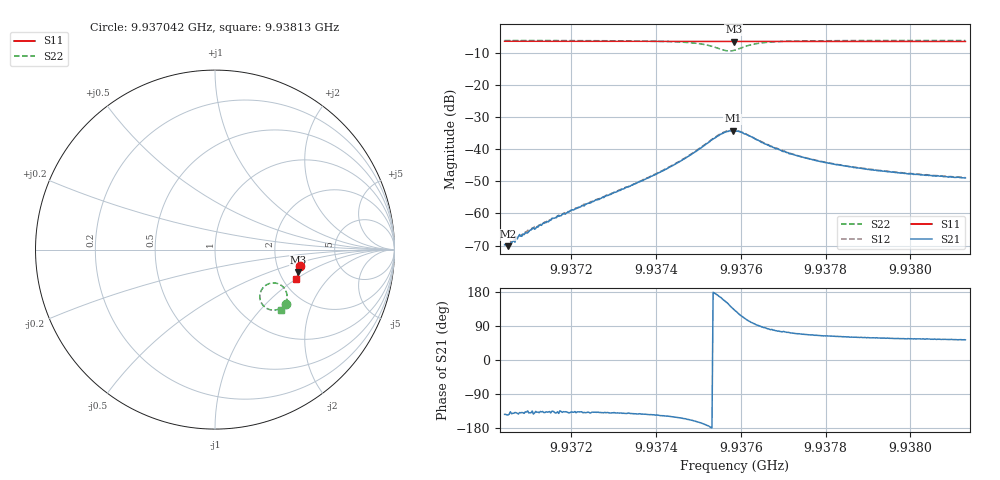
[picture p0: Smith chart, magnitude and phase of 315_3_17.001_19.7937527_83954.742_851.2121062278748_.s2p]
#  HZ  S  RI  R  50.00
! Rohde & Schwarz Vector Network Analyzer
! Rohde-Schwarz,ZNB20-2Port,1311601062101988,3.16
! Created: UTC 3/20/2024, 11:06:11 PM
! freq[Hz]  re:S11  im:S11  re:S21  im:S21  re:S12  im:S12  re:S22  im:S22
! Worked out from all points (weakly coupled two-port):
!   401 points, 9.937042 GHz to 9.93813 GHz, reference 50 ohm
!   highest |S21| = -34.16 dB at 9.937581 GHz (marker M1); lowest = -70.2 dB at 9.937051 GHz (marker M2)
!   lowest |S11| = -6.4 dB at 9.937583 GHz (marker M3), VSWR 2.85, Z = 127 - j41.2 ohm
!   |S11| at or under -10 dB: nowhere
!   |S22| runs from -9.3 to -6.0 dB; largest |S21 - S12| = 0.00099
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9.9370424e9  0.4759 -0.0907  -0.000263 -0.000195  -0.000251 -0.000206  0.3966 -0.302
9.9370506e9  0.4758 -0.0912  -0.000254 -0.000177  -0.00025 -0.000208  0.396 -0.3026
9.9370615e9  0.4756 -0.092  -0.000285 -0.000232  -0.000307 -0.000217  0.3951 -0.3034
9.937075e9  0.4752 -0.093  -0.000347 -0.000267  -0.000352 -0.000261  0.3942 -0.3047
9.9371049e9  0.4747 -0.0952  -0.000422 -0.000366  -0.000408 -0.000382  0.3921 -0.3065
9.9371539e9  0.4739 -0.0982  -0.000593 -0.000584  -0.000622 -0.000565  0.3881 -0.3102
9.9372246e9  0.4725 -0.1031  -0.000968 -0.000913  -0.001 -0.000858  0.3815 -0.316
9.9373469e9  0.4701 -0.1114  -0.00226 -0.00178  -0.00229 -0.00174  0.3649 -0.3272
9.9374067e9  0.4687 -0.1153  -0.00359 -0.00243  -0.00371 -0.00242  0.3501 -0.3336
9.9374665e9  0.4673 -0.1195  -0.00643 -0.00302  -0.00661 -0.00297  0.3235 -0.3374
9.9375154e9  0.4657 -0.1227  -0.0116 -0.00199  -0.0118 -0.00176  0.2817 -0.3232
9.9375535e9  0.464 -0.1246  -0.0167 0.00464  -0.0169 0.00535  0.2497 -0.2624
9.9375807e9  0.4636 -0.1252  -0.0142 0.0135  -0.0139 0.0141  0.2829 -0.1986
9.9375834e9  0.4633 -0.1251  -0.0133 0.0142  -0.0132 0.0149  0.2896 -0.1947
9.9375861e9  0.4633 -0.1254  -0.0126 0.0147  -0.0124 0.0153  0.2966 -0.1914
9.9375997e9  0.4637 -0.1262  -0.00856 0.0165  -0.00819 0.017  0.3311 -0.1858
9.9376432e9  0.4637 -0.129  -5.29e-05 0.0136  0.000415 0.0137  0.3921 -0.2243
9.9377057e9  0.4628 -0.1336  0.00253 0.00868  0.00279 0.00867  0.4017 -0.2694
9.9377682e9  0.4613 -0.1379  0.00278 0.00634  0.00297 0.0063  0.3967 -0.2912
9.9378552e9  0.4592 -0.1437  0.00262 0.0047  0.00273 0.00465  0.3885 -0.3081
9.9379504e9  0.4569 -0.1499  0.00243 0.00377  0.00255 0.00373  0.3807 -0.3196
9.9381298e9  0.4522 -0.1615  0.00214 0.00288  0.00223 0.00288  0.3682 -0.3343
